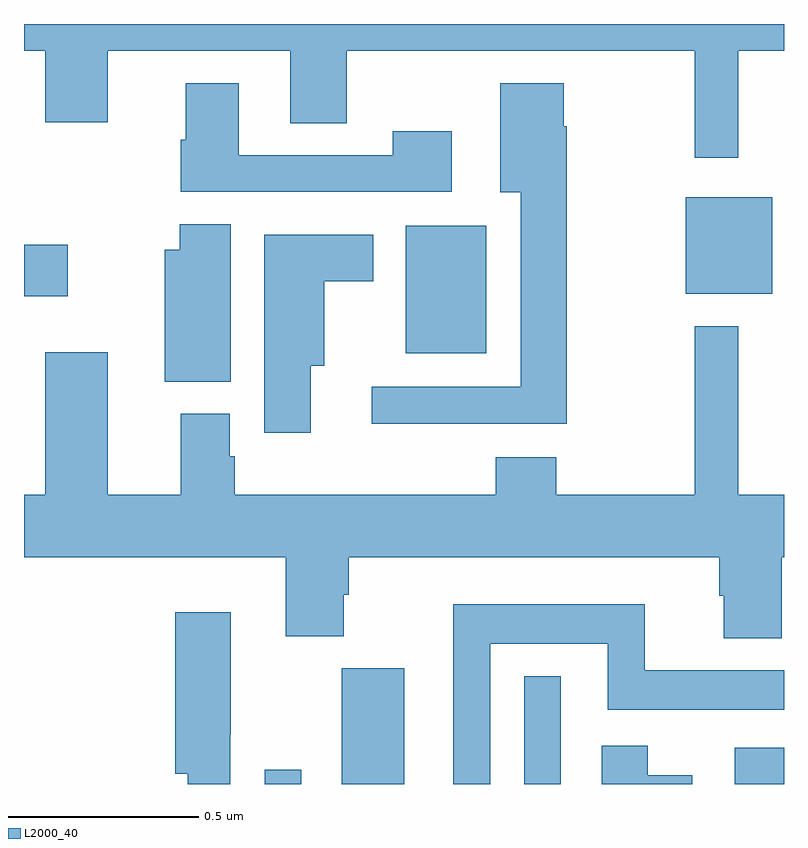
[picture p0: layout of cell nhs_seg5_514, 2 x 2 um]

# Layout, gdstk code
import gdstk
lib = gdstk.Library(unit=1e-6, precision=1e-09)
def R(c, l, rs):  # rectangles x0, y0, x1, y1
    for r in rs: c.add(gdstk.rectangle(r[:2], r[2:], *l))
def P(c, l, *ps):  # polygons
    for p in ps: c.add(gdstk.Polygon(p, *l))
L2000_40 = (2000, 40)

nhs_seg5_514 = lib.new_cell('nhs_seg5_514')
R(nhs_seg5_514, L2000_40, [(117.633,886.799,117.729,886.837), (117.836,886.799,118,887.103), (118.317,886.799,118.413,887.083), (118.871,886.799,119,886.894), (118.004,887.933,118.216,888.268), (117,888.083,117.115,888.218), (118.742,888.089,118.969,888.343)])
P(nhs_seg5_514, L2000_40, [(118.879,888.728),(119,888.728),(119,888.799),(117,888.799),(117,888.728),(117.056,888.728),(117.056,888.54),(117.22,888.54),(117.22,888.728),(117.701,888.728),(117.701,888.538),(117.849,888.538),(117.849,888.728),(118.765,888.728),(118.765,888.447),(118.879,888.447)],
  [(118.428,888.53),(118.42,888.53),(118.42,888.643),(118.253,888.643),(118.253,888.356),(118.307,888.356),(118.307,887.844),(117.915,887.844),(117.915,887.747),(118.428,887.747)],
  [(118.126,888.517),(117.97,888.517),(117.97,888.453),(117.565,888.453),(117.565,888.643),(117.425,888.643),(117.425,888.495),(117.413,888.495),(117.413,888.357),(118.126,888.357)],
  [(117.544,888.272),(117.41,888.272),(117.41,888.205),(117.371,888.205),(117.371,887.858),(117.544,887.858)],
  [(117.754,887.9),(117.79,887.9),(117.79,888.122),(117.919,888.122),(117.919,888.244),(117.632,888.244),(117.632,887.724),(117.754,887.724)],
  [(118.994,887.396),(119,887.396),(119,887.56),(118.879,887.56),(118.879,888.004),(118.765,888.004),(118.765,887.56),(118.401,887.56),(118.401,887.659),(118.241,887.659),(118.241,887.56),(117.554,887.56),(117.554,887.661),(117.541,887.661),(117.541,887.773),(117.413,887.773),(117.413,887.56),(117.22,887.56),(117.22,887.935),(117.056,887.935),(117.056,887.56),(117,887.56),(117,887.396),(117.689,887.396),(117.689,887.188),(117.841,887.188),(117.841,887.297),(117.854,887.297),(117.854,887.396),(118.829,887.396),(118.829,887.295),(118.841,887.295),(118.841,887.183),(118.994,887.183)],
  [(118.227,887.168),(118.536,887.168),(118.536,886.994),(119,886.994),(119,887.098),(118.634,887.098),(118.634,887.272),(118.13,887.272),(118.13,886.799),(118.227,886.799)],
  [(117.543,886.93),(117.544,886.93),(117.544,887.251),(117.398,887.251),(117.398,886.826),(117.431,886.826),(117.431,886.799),(117.543,886.799)],
  [(118.759,886.822),(118.642,886.822),(118.642,886.9),(118.52,886.9),(118.52,886.799),(118.759,886.799)])

lib.write_gds('nhs_seg5_514.gds')
